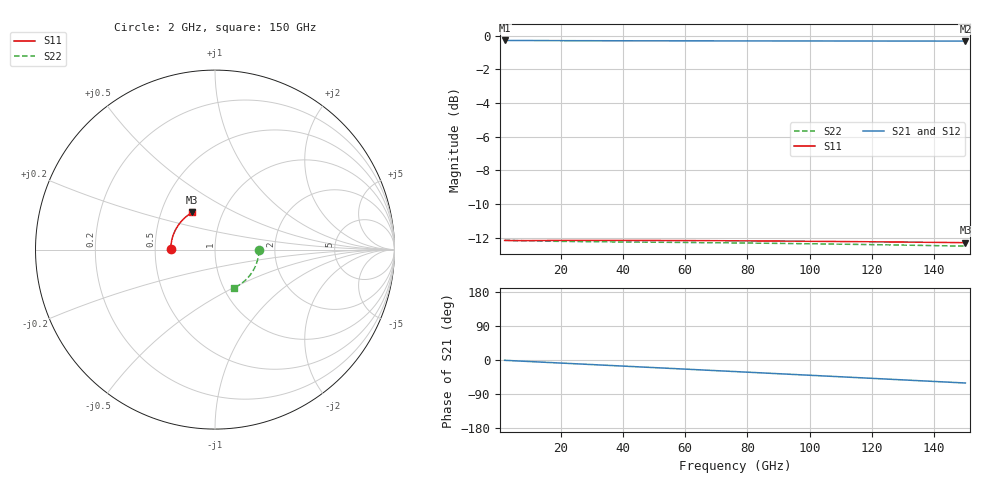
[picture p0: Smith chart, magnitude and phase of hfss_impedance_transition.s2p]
! Touchstone file exported from HFSS 2021.1.0
!  File:  C:/Users/Ziad/Desktop/TMTT HFSS/mTRL_verification.aedt
!  Generated:  1:50:01 AM  Aug 09, 2022
!  Design:  impedance_transition
!  Project:  mTRL_verification
!  Setup:  Setup1
!  Solution:  Sweep
! Variables:
!  $e_r = 1.73929
!  $er = 3.2
!  $tand = 0.002
!  match_width = 0.094mm
!  port_height = 0.946mm
!  sig_length = 0.1mm
!  step_width = 0.2086mm
!  sub_length = 0.2mm
!  sub_thickness = 0.0473mm
!  sub_width = 4mm
!  trace_thickness = 0.0126mm
!Data is not renormalized
# GHz S MA
! Terminal data exported
! Port[1] = 1
! Port[2] = 2
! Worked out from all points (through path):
!   75 points, 2 GHz to 150 GHz, reference per port
!   highest |S21| = -0.27 dB at 2 GHz (marker M1); lowest = -0.3 dB at 150 GHz (marker M2)
!   group delay of S21, straight-line fit = 1.12 ps
!   lowest |S11| = -12.3 dB at 150 GHz (marker M3), VSWR 1.64
!   |S11| at or under -10 dB: start of sweep to end of sweep
!   |S22| runs from -12.5 to -12.2 dB; largest |S21 - S12| = 2e-15
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2  0.2465 179.1  0.9689 -0.8  0.9689 -0.8  0.2466 -0.9
! Gamma 1.04593504210781 66.6700791383097 1.0407309288705 69.19133680759
! Port Impedance 54.027272504092 -0.6926065302966 32.4537496486569 -0.405757419989088
8  0.2461 176.9  0.9686 -3.2  0.9686 -3.2  0.246 -3.5
14  0.2463 174.6  0.9681 -5.6  0.9681 -5.6  0.2453 -6.0
22  0.2464 171.6  0.9675 -8.8  0.9675 -8.8  0.2447 -9.3
28  0.2465 169.2  0.9672 -11.2  0.9672 -11.2  0.2444 -11.7
34  0.2465 166.9  0.967 -13.6  0.967 -13.6  0.2441 -14.2
40  0.2465 164.6  0.9668 -16.0  0.9668 -16.0  0.2438 -16.7
46  0.2464 162.2  0.9666 -18.5  0.9666 -18.5  0.2436 -19.2
52  0.2463 159.9  0.9665 -20.9  0.9665 -20.9  0.2434 -21.7
58  0.2462 157.6  0.9663 -23.3  0.9663 -23.3  0.2431 -24.2
64  0.2461 155.2  0.9662 -25.7  0.9662 -25.7  0.2428 -26.7
70  0.246 152.9  0.9661 -28.1  0.9661 -28.1  0.2426 -29.2
76  0.2458 150.5  0.966 -30.5  0.966 -30.5  0.2423 -31.7
82  0.2456 148.2  0.9659 -33.0  0.9659 -33.0  0.2419 -34.3
88  0.2454 145.8  0.9658 -35.4  0.9658 -35.4  0.2416 -36.8
94  0.2452 143.5  0.9657 -37.8  0.9657 -37.8  0.2413 -39.3
102  0.2449 140.4  0.9655 -41.1  0.9655 -41.1  0.2407 -42.7
114  0.2444 135.7  0.9653 -46.0  0.9653 -46.0  0.2399 -47.8
126  0.2439 130.9  0.9651 -50.9  0.9651 -50.9  0.239 -52.9
138  0.2433 126.2  0.9649 -55.8  0.9649 -55.8  0.238 -58.1
144  0.243 123.8  0.9648 -58.2  0.9648 -58.2  0.2375 -60.6
150  0.2427 121.4  0.9647 -60.7  0.9647 -60.7  0.2369 -63.2
